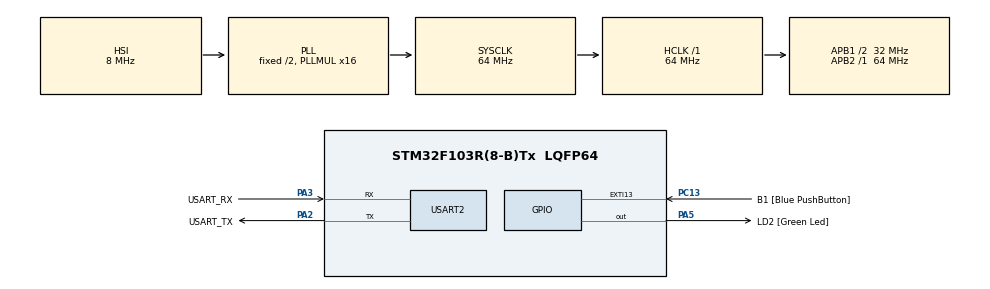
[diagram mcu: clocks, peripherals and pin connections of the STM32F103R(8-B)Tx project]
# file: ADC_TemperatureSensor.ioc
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ADC1.Channel-1\#ChannelRegularConversion=ADC_CHANNEL_TEMPSENSOR
ADC1.ContinuousConvMode=ENABLE
ADC1.NbrOfConversionFlag=1
ADC1.Rank-1\#ChannelRegularConversion=1
ADC1.SamplingTime-1\#ChannelRegularConversion=ADC_SAMPLETIME_13CYCLES_5
ADC1.master=1
Mcu.Family=STM32F1
Mcu.Name=STM32F103R(8-B)Tx
Mcu.Package=LQFP64
NVIC.EXTI15_10_IRQn=true\:0\:0\:false\:false\:true\:true\:true
NVIC.PriorityGroup=NVIC_PRIORITYGROUP_4
PA13.GPIO_Label=TMS
PA13.Mode=Serial_Wire
PA13.Signal=SYS_JTMS-SWDIO
PA14.GPIO_Label=TCK
PA14.Mode=Serial_Wire
PA14.Signal=SYS_JTCK-SWCLK
PA2.GPIO_Label=USART_TX
PA2.GPIO_Mode=GPIO_MODE_AF_PP
PA2.GPIO_PuPd=GPIO_NOPULL
PA2.GPIO_Speed=GPIO_SPEED_FREQ_LOW
PA2.Mode=Asynchronous
PA2.Signal=USART2_TX
PA3.GPIO_Label=USART_RX
PA3.GPIO_Mode=GPIO_MODE_AF_PP
PA3.GPIO_PuPd=GPIO_NOPULL
PA3.GPIO_Speed=GPIO_SPEED_FREQ_LOW
PA3.Mode=Asynchronous
PA3.Signal=USART2_RX
PA5.GPIO_Label=LD2 [Green Led]
PA5.GPIO_ModeDefaultOutputPP=GPIO_MODE_OUTPUT_PP
PA5.GPIO_PuPd=GPIO_NOPULL
PA5.GPIO_Speed=GPIO_SPEED_FREQ_LOW
PA5.Signal=GPIO_Output
PB3.GPIO_Label=SWO
PB3.Signal=SYS_JTDO-TRACESWO
PC13-TAMPER-RTC.GPIO_Label=B1 [Blue PushButton]
PC13-TAMPER-RTC.GPIO_PuPd=GPIO_NOPULL
PC13-TAMPER-RTC.Signal=GPXTI13
PC14-OSC32_IN.Signal=RCC_OSC32_IN
PC15-OSC32_OUT.Signal=RCC_OSC32_OUT
PD0-OSC_IN.Signal=RCC_OSC_IN
PD1-OSC_OUT.Signal=RCC_OSC_OUT
ProjectManager.HeapSize=0x200
ProjectManager.StackSize=0x400
ProjectManager.TargetToolchain=STM32CubeIDE
RCC.ADCPresc=RCC_ADCPCLK2_DIV8
RCC.AHBFreq_Value=64000000
RCC.APB1CLKDivider=RCC_HCLK_DIV2
RCC.APB1Freq_Value=32000000
RCC.APB1TimFreq_Value=64000000
RCC.APB2Freq_Value=64000000
RCC.APB2TimFreq_Value=64000000
RCC.HCLKFreq_Value=64000000
RCC.PLLMUL=RCC_PLL_MUL16
RCC.RTCClockSelection=RCC_RTCCLKSOURCE_LSE
RCC.SYSCLKFreq_VALUE=64000000
RCC.SYSCLKSource=RCC_SYSCLKSOURCE_PLLCLK
RCC.USBFreq_Value=64000000
USART2.VirtualMode=VM_ASYNC
VP_ADC1_TempSens_Input.Mode=IN-TempSens
board=NUCLEO-F103RB

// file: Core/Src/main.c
/* USER CODE BEGIN Header */
/**
  ******************************************************************************
  * @file           : main.c
  * @brief          : Main program body
  ******************************************************************************
  * @attention
  *
  * <h2><center>&copy; Copyright (c) 2020 STMicroelectronics.
  * All rights reserved.</center></h2>
  *
  * This software component is licensed by ST under BSD 3-Clause license,
  * the "License"; You may not use this file except in compliance with the
  * License. You may obtain a copy of the License at:
  *                        opensource.org/licenses/BSD-3-Clause
  *
  ******************************************************************************
  */
/* USER CODE END Header */

#include "main.h"

/* USER CODE BEGIN Includes */
#include <stdio.h>
/* USER CODE END Includes */

ADC_HandleTypeDef hadc1;

UART_HandleTypeDef huart2;

/* USER CODE BEGIN PV */
const float AVG_SLOPE = 4.3E-03;      // slope (gradient) of temperature line function
const float V25 = 1.43;               // sensor's voltage at 25°C [V]
const float ADC_TO_VOLT = 3.3 / 4096; // conversion coefficient of digital value to volt
                                      // when using 3.3V ref. voltage at 12-bit resolution
/* USER CODE END PV */

void SystemClock_Config(void);
static void MX_GPIO_Init(void);
static void MX_USART2_UART_Init(void);
static void MX_ADC1_Init(void);

/* USER CODE BEGIN 0 */
#ifdef __GNUC__
/* With GCC, small printf (option LD Linker->Libraries->Small printf
   set to 'Yes') calls __io_putchar() */
#define PUTCHAR_PROTOTYPE int __io_putchar(int ch)
#else
#define PUTCHAR_PROTOTYPE int fputc(int ch, FILE *f)
#endif /* __GNUC__ */

/**
  * @brief  Retargets the C library printf function to the USART.
  * @param  None
  * @retval None
  */
PUTCHAR_PROTOTYPE
{
  /* Place your implementation of fputc here */
  /* e.g. write a character to the USART1 and Loop until the end of transmission */
  if (ch == '\n')
    HAL_UART_Transmit (&huart2, (uint8_t*) "\r", 1, 0xFFFF);
  HAL_UART_Transmit (&huart2, (uint8_t*) &ch, 1, 0xFFFF);

  return ch;
}

/* USER CODE END 0 */

int main(void)
{

  /* MCU Configuration--------------------------------------------------------*/

  /* Reset of all peripherals, Initializes the Flash interface and the Systick. */
  HAL_Init();

  /* Configure the system clock */
  SystemClock_Config();

  /* Initialize all configured peripherals */
  MX_GPIO_Init();
  MX_USART2_UART_Init();
  MX_ADC1_Init();

  /* Infinite loop */
  /* USER CODE BEGIN WHILE */

  /* Start calibration */
  if (HAL_ADCEx_Calibration_Start (&hadc1) != HAL_OK)
    {
      Error_Handler ();
    }

  /* Start the conversion process */
  if (HAL_ADC_Start (&hadc1) != HAL_OK)
    {
      Error_Handler ();
    }

  uint16_t adc1;

  float vSense; // sensor's output voltage [V]
  float temp;   // sensor's temperature [°C]

  while (1)
  {
      HAL_ADC_PollForConversion (&hadc1, 100);
      adc1 = HAL_ADC_GetValue (&hadc1);
      //printf ("ADC1_temperature: %d \n", adc1);

      /*
       * Reference Manual & Datasheet
       *
       * Temperature (in °C) = {(V25 - VSENSE) / Avg_Slope} + 25.
       * Where,
       * V25 = VSENSE value for 25°C and
       * Avg_Slope = Average Slope for curve between Temperature vs. VSENSE
       * (given in mV/°C or uV/°C)
       */
      vSense = adc1 * ADC_TO_VOLT;
      temp = (V25 - vSense) / AVG_SLOPE + 25.0;
      printf ("temperature: %d, %f \n", adc1, temp);
      /* USER CODE END WHILE */

      /* USER CODE BEGIN 3 */
      HAL_Delay (100);

  }
  /* USER CODE END 3 */
}

void SystemClock_Config(void)
{
  RCC_OscInitTypeDef RCC_OscInitStruct = {0};
  RCC_ClkInitTypeDef RCC_ClkInitStruct = {0};
  RCC_PeriphCLKInitTypeDef PeriphClkInit = {0};

  /** Initializes the CPU, AHB and APB busses clocks
  */
  RCC_OscInitStruct.OscillatorType = RCC_OSCILLATORTYPE_HSI;
  RCC_OscInitStruct.HSIState = RCC_HSI_ON;
  RCC_OscInitStruct.HSICalibrationValue = RCC_HSICALIBRATION_DEFAULT;
  RCC_OscInitStruct.PLL.PLLState = RCC_PLL_ON;
  RCC_OscInitStruct.PLL.PLLSource = RCC_PLLSOURCE_HSI_DIV2;
  RCC_OscInitStruct.PLL.PLLMUL = RCC_PLL_MUL16;
  if (HAL_RCC_OscConfig(&RCC_OscInitStruct) != HAL_OK)
  {
    Error_Handler();
  }
  /** Initializes the CPU, AHB and APB busses clocks
  */
  RCC_ClkInitStruct.ClockType = RCC_CLOCKTYPE_HCLK|RCC_CLOCKTYPE_SYSCLK
                              |RCC_CLOCKTYPE_PCLK1|RCC_CLOCKTYPE_PCLK2;
  RCC_ClkInitStruct.SYSCLKSource = RCC_SYSCLKSOURCE_PLLCLK;
  RCC_ClkInitStruct.AHBCLKDivider = RCC_SYSCLK_DIV1;
  RCC_ClkInitStruct.APB1CLKDivider = RCC_HCLK_DIV2;
  RCC_ClkInitStruct.APB2CLKDivider = RCC_HCLK_DIV1;

  if (HAL_RCC_ClockConfig(&RCC_ClkInitStruct, FLASH_LATENCY_2) != HAL_OK)
  {
    Error_Handler();
  }
  PeriphClkInit.PeriphClockSelection = RCC_PERIPHCLK_ADC;
  PeriphClkInit.AdcClockSelection = RCC_ADCPCLK2_DIV8;
  if (HAL_RCCEx_PeriphCLKConfig(&PeriphClkInit) != HAL_OK)
  {
    Error_Handler();
  }
}

static void MX_ADC1_Init(void)
{

  ADC_ChannelConfTypeDef sConfig = {0};

  /** Common config
  */
  hadc1.Instance = ADC1;
  hadc1.Init.ScanConvMode = ADC_SCAN_DISABLE;
  hadc1.Init.ContinuousConvMode = ENABLE;
  hadc1.Init.DiscontinuousConvMode = DISABLE;
  hadc1.Init.ExternalTrigConv = ADC_SOFTWARE_START;
  hadc1.Init.DataAlign = ADC_DATAALIGN_RIGHT;
  hadc1.Init.NbrOfConversion = 1;
  if (HAL_ADC_Init(&hadc1) != HAL_OK)
  {
    Error_Handler();
  }
  /** Configure Regular Channel
  */
  sConfig.Channel = ADC_CHANNEL_TEMPSENSOR;
  sConfig.Rank = ADC_REGULAR_RANK_1;
  sConfig.SamplingTime = ADC_SAMPLETIME_13CYCLES_5;
  if (HAL_ADC_ConfigChannel(&hadc1, &sConfig) != HAL_OK)
  {
    Error_Handler();
  }

}

static void MX_USART2_UART_Init(void)
{

  huart2.Instance = USART2;
  huart2.Init.BaudRate = 115200;
  huart2.Init.WordLength = UART_WORDLENGTH_8B;
  huart2.Init.StopBits = UART_STOPBITS_1;
  huart2.Init.Parity = UART_PARITY_NONE;
  huart2.Init.Mode = UART_MODE_TX_RX;
  huart2.Init.HwFlowCtl = UART_HWCONTROL_NONE;
  huart2.Init.OverSampling = UART_OVERSAMPLING_16;
  if (HAL_UART_Init(&huart2) != HAL_OK)
  {
    Error_Handler();
  }

}

static void MX_GPIO_Init(void)
{
  GPIO_InitTypeDef GPIO_InitStruct = {0};

  /* GPIO Ports Clock Enable */
  __HAL_RCC_GPIOC_CLK_ENABLE();
  __HAL_RCC_GPIOD_CLK_ENABLE();
  __HAL_RCC_GPIOA_CLK_ENABLE();
  __HAL_RCC_GPIOB_CLK_ENABLE();

  /*Configure GPIO pin Output Level */
  HAL_GPIO_WritePin(LD2_GPIO_Port, LD2_Pin, GPIO_PIN_RESET);

  /*Configure GPIO pin : B1_Pin */
  GPIO_InitStruct.Pin = B1_Pin;
  GPIO_InitStruct.Mode = GPIO_MODE_IT_RISING;
  GPIO_InitStruct.Pull = GPIO_NOPULL;
  HAL_GPIO_Init(B1_GPIO_Port, &GPIO_InitStruct);

  /*Configure GPIO pin : LD2_Pin */
  GPIO_InitStruct.Pin = LD2_Pin;
  GPIO_InitStruct.Mode = GPIO_MODE_OUTPUT_PP;
  GPIO_InitStruct.Pull = GPIO_NOPULL;
  GPIO_InitStruct.Speed = GPIO_SPEED_FREQ_LOW;
  HAL_GPIO_Init(LD2_GPIO_Port, &GPIO_InitStruct);

  /* EXTI interrupt init*/
  HAL_NVIC_SetPriority(EXTI15_10_IRQn, 0, 0);
  HAL_NVIC_EnableIRQ(EXTI15_10_IRQn);

}

void Error_Handler(void)
{
}

/************************ (C) COPYRIGHT STMicroelectronics *****END OF FILE****/
